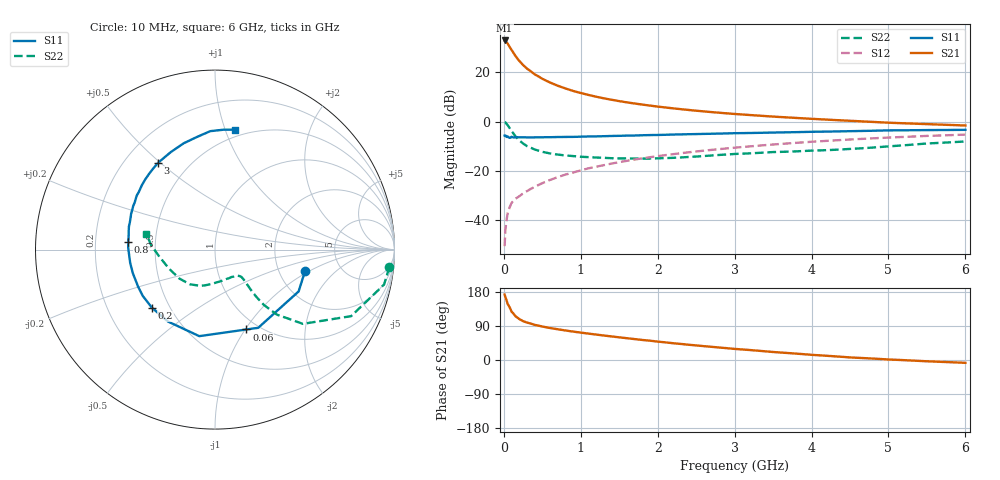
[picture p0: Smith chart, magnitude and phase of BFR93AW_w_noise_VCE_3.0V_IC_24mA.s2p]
! (c) 2017  Infineon Technologies AG, Munich
! Infineon Technologies  Discrete & RF Semiconductors
! BFR93AW
! VCE =  3.0 V,  IC =  24 mA
! Common Emitter S-Parameters:  Jan 2017
# GHz  S  MA  R  50
!  f  S11  S21  S12  S22
! GHz  MAG  ANG  MAG  ANG  MAG  ANG  MAG  ANG
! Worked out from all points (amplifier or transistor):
!   77 points, 10 MHz to 6 GHz, reference 50 ohm
!   highest |S21| = 33.0 dB at 10 MHz (marker M1)
!   |S21| within 3 dB of that: start of sweep to 82.67 MHz
!   unconditionally stable (mu >= 1): 580 MHz to 2.1 GHz
!   at 130 MHz: K = 0.50, MSG = 29.9 dB, |S12| = -32.1 dB
!   at 2.2 GHz: K = 0.99, MSG = 9.3 dB, |S12| = -13.3 dB
!   at 6 GHz: K = 0.89, MSG = 1.9 dB, |S12| = -5.3 dB
!   lowest NFmin = 1.63 dB at 450 MHz
!   S11 on the Smith chart (normalised r, x): 10 MHz: 2.79, -0.92; 60 MHz: 0.88, -1.01; 200 MHz: 0.40, -0.34; 800 MHz: 0.35, +0.04; 3 GHz: 0.34, +0.49; 6 GHz: 0.44, +1.08
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0.01  0.5157 -13.5  44.71 172.7  0.0029 80.9  0.977 -5.7
0.02  0.521 -26.6  44.34 166.0  0.0062 86.8  0.9617 -11.7
0.05  0.4978 -61.1  38.57 147.8  0.0136 67.7  0.8438 -26.1
0.06  0.4782 -68.5  36.3 144.7  0.0153 65.6  0.8 -28.3
0.1  0.4901 -100.3  28.71 127.6  0.022 60.5  0.641 -40.2
0.15  0.4788 -123.2  21.7 115.7  0.0267 57.7  0.5007 -46.4
0.2  0.4778 -137.3  17.17 108.2  0.03 58.2  0.4136 -48.5
0.25  0.478 -147.2  14.15 102.6  0.0345 58.7  0.3569 -48.8
0.3  0.4756 -154.2  11.97 98.8  0.0382 59.9  0.3164 -48.6
0.4  0.4763 -164.0  9.177 92.8  0.0468 63.6  0.2695 -47.5
0.5  0.4783 -171.0  7.407 88.3  0.0555 65.1  0.2415 -46.5
0.6  0.4795 -176.7  6.228 84.4  0.0646 67.2  0.2242 -46.1
0.7  0.4837 179.0  5.36 81.2  0.0736 68.2  0.2125 -46.0
0.8  0.4854 174.8  4.715 77.9  0.0831 68.7  0.2039 -46.7
1.1  0.4965 165.0  3.477 69.7  0.1115 68.7  0.1884 -51.0
1.5  0.5115 154.4  2.601 59.8  0.1491 67.3  0.1775 -60.9
2.1  0.5373 140.7  1.933 46.5  0.2069 63.1  0.1799 -82.4
3  0.5784 123.3  1.425 29.3  0.2934 55.0  0.2184 -112.6
3.1  0.5809 121.5  1.39 27.8  0.3026 53.9  0.2215 -115.5
4.1  0.6206 104.8  1.115 12.4  0.3956 43.5  0.2581 -144.4
5.1  0.6616 91.0  0.933 0.5  0.4787 32.3  0.3198 -175.1
6  0.6771 80.7  0.83 -7.5  0.5417 22.1  0.3928 167.0
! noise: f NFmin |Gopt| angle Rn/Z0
0.45  1.63  0.16  169  0.16
0.9  1.9  0.24  180  0.16
1.9  2.91  0.49  -137  0.25
2.4  3.56  0.55  -125  0.49
